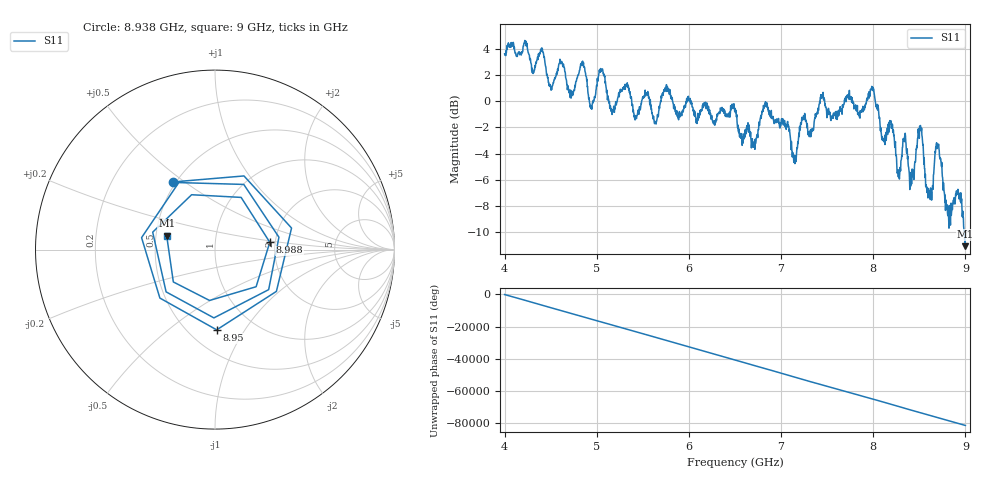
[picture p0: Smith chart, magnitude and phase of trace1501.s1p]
! Created with skrf 1.8.0 (http://scikit-rf.org).
# Hz S RI R 50.0
!freq ReS11 ImS11
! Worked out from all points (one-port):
!   1601 points, 4 GHz to 9 GHz, reference 50 ohm
!   lowest |S11| = -11.1 dB at 9 GHz (marker M1), VSWR 1.78, Z = 28.5 + j4.78 ohm
!   |S11| at or under -10 dB: 8.986052 GHz to end of sweep
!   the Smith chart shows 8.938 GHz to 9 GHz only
!   S11 on the Smith chart (normalised r, x): 8.938 GHz: 0.48, +0.45; 8.95 GHz: 0.68, -0.76; 8.988 GHz: 1.87, +0.17; 9 GHz: 0.57, +0.10
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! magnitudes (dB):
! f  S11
! 4 GHz  3.6
! 4.5 GHz  1.1
! 4.625 GHz  2.9
! 4.725 GHz  0.4
! 4.85 GHz  2.7
! 4.944 GHz  -0.5
! 5.047 GHz  2.4
! 5.166 GHz  -1.0
! 5.25 GHz  0.7
! 5.875 GHz  -1.1
! 6.5 GHz  -0.6
! 6.703 GHz  -3.5
! 6.834 GHz  -0.3
! 7.125 GHz  -3.9
! 7.444 GHz  0.5
! 7.75 GHz  0.1
! 7.994 GHz  0.9
! 8.272 GHz  -5.8
! 8.375 GHz  -4.2
! 8.419 GHz  -5.7
! 8.509 GHz  -2.1
! 8.594 GHz  -7.4
! 8.694 GHz  -3.4
! 8.812 GHz  -8.7
! 8.938 GHz  -7.0
! 8.95 GHz  -7.0
! 8.988 GHz  -10.2
! 9 GHz  -11.1
